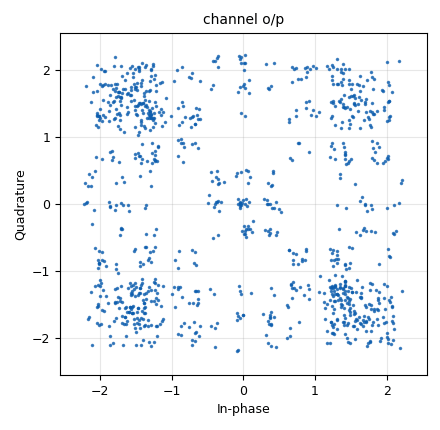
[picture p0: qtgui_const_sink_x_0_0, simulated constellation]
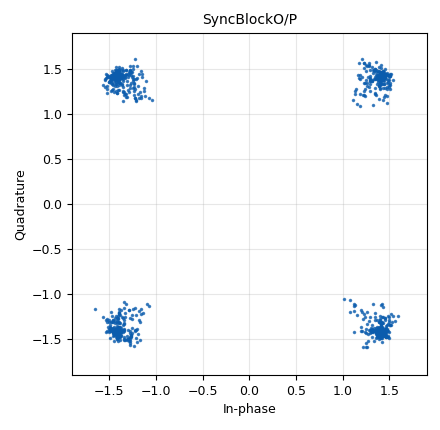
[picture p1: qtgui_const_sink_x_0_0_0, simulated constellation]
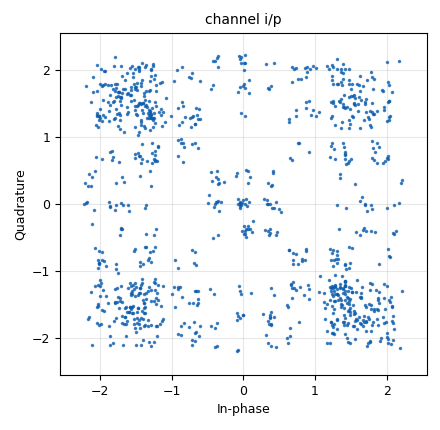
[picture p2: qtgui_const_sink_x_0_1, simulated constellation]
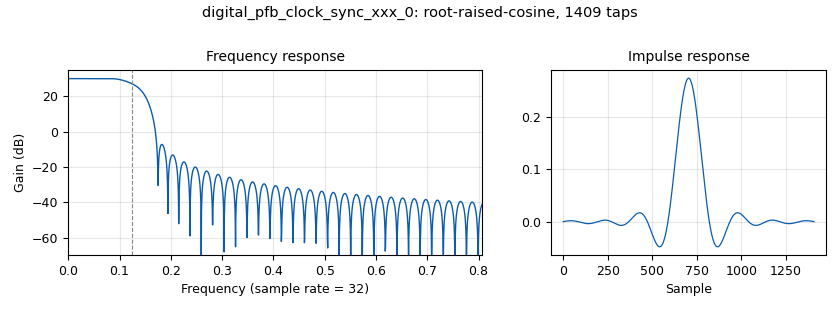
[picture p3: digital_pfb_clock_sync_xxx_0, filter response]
options:
  parameters:
    generate_options: qt_gui
    id: qpsk_simulation1
    output_language: python
    title: QPSK
  states: {}

blocks:
- name: freq_offset
  id: variable_qtgui_range
  parameters:
    start: '0'
    step: '0.00001'
    stop: '0.001'
    value: '0'
    widget: slider
  states: {}
- name: nfilts
  id: variable
  parameters:
    value: '32'
  states: {}
- name: noise_voltage
  id: variable_qtgui_range
  parameters:
    start: '0'
    step: '1e-3'
    stop: '1'
    value: '0'
    widget: slider
  states: {}
- name: qpsk_constellation_0
  id: variable_constellation
  parameters:
    precision: '8'
    type: qpsk
  states: {}
- name: rrc_taps
  id: variable
  parameters:
    value: firdes.root_raised_cosine(nfilts, nfilts, 1.0/float(sps), 0.35, 11*sps*nfilts)
  states: {}
- name: samp_rate
  id: variable
  parameters:
    value: '32000'
  states: {}
- name: sps
  id: variable
  parameters:
    value: '4'
  states: {}
- name: time_offset
  id: variable_qtgui_range
  parameters:
    start: '0'
    step: '1e-5'
    stop: '1'
    value: '1'
    widget: slider
  states: {}
- name: timing_loop_bw
  id: variable_qtgui_range
  parameters:
    start: '0'
    step: '1'
    stop: '100'
    value: '62.8e-3'
    widget: slider
  states: {}
- name: analog_random_source_x_0
  id: analog_random_source_x
  parameters:
    max: '256'
    min: '0'
    num_samps: '1000'
    repeat: 'True'
    type: byte
  states: {}
- name: blocks_throttle2_0
  id: blocks_throttle2
  parameters:
    samples_per_second: samp_rate
    type: complex
  states: {}
- name: channels_channel_model_0
  id: channels_channel_model
  parameters:
    epsilon: time_offset
    freq_offset: freq_offset
    noise_voltage: noise_voltage
    seed: '0'
    taps: '1'
  states: {}
- name: digital_constellation_modulator_0
  id: digital_constellation_modulator
  parameters:
    constellation: qpsk_constellation_0
    differential: 'False'
    excess_bw: '0.35'
    samples_per_symbol: '4'
  states: {}
- name: digital_pfb_clock_sync_xxx_0
  id: digital_pfb_clock_sync_xxx
  parameters:
    filter_size: nfilts
    init_phase: nfilts/2
    loop_bw: timing_loop_bw
    max_dev: '1.0'
    osps: '1'
    sps: '4'
    taps: rrc_taps
    type: ccf
  states: {}
- name: qtgui_const_sink_x_0_0
  id: qtgui_const_sink_x
  parameters:
    autoscale: 'True'
    grid: 'True'
    name: '"channel o/p"'
    size: '1024'
    type: complex
  states: {}
- name: qtgui_const_sink_x_0_0_0
  id: qtgui_const_sink_x
  parameters:
    autoscale: 'True'
    grid: 'True'
    name: '"SyncBlockO/P"'
    size: '1024'
    type: complex
  states: {}
- name: qtgui_const_sink_x_0_1
  id: qtgui_const_sink_x
  parameters:
    autoscale: 'True'
    grid: 'True'
    name: '"channel i/p"'
    size: '1024'
    type: complex
  states: {}
- name: qtgui_freq_sink_x_0
  id: qtgui_freq_sink_x
  parameters:
    bw: samp_rate
    fc: '0'
    fftsize: '1024'
    type: complex
  states: {state: disabled}
- name: qtgui_time_sink_x_0
  id: qtgui_time_sink_x
  parameters:
    autoscale: 'True'
    grid: 'True'
    size: '1024'
    srate: samp_rate
    type: complex
  states: {state: disabled}
- name: virtual_sink_0
  id: virtual_sink
  parameters:
    stream_id: qpsk_passbandSignal
  states: {}

connections:
- [analog_random_source_x_0, '0', digital_constellation_modulator_0, '0']
- [blocks_throttle2_0, '0', channels_channel_model_0, '0']
- [blocks_throttle2_0, '0', qtgui_const_sink_x_0_1, '0']
- [channels_channel_model_0, '0', digital_pfb_clock_sync_xxx_0, '0']
- [channels_channel_model_0, '0', qtgui_const_sink_x_0_0, '0']
- [digital_constellation_modulator_0, '0', blocks_throttle2_0, '0']
- [digital_pfb_clock_sync_xxx_0, '0', qtgui_const_sink_x_0_0_0, '0']
- [digital_pfb_clock_sync_xxx_0, '0', virtual_sink_0, '0']

metadata:
  file_format: 1
  grc_version: 3.10.11.0
